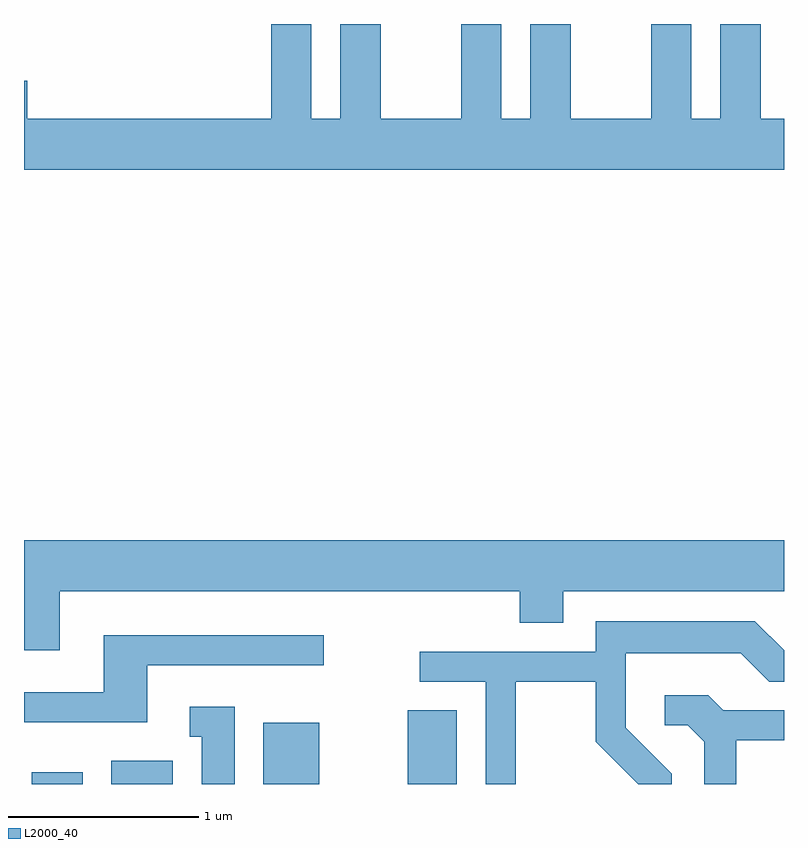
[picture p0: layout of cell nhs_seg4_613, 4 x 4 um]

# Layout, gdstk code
import gdstk
lib = gdstk.Library(unit=1e-6, precision=1e-09)
def R(c, l, rs):  # rectangles x0, y0, x1, y1
    for r in rs: c.add(gdstk.rectangle(r[:2], r[2:], *l))
def P(c, l, *ps):  # polygons
    for p in ps: c.add(gdstk.Polygon(p, *l))
L2000_40 = (2000, 40)

nhs_seg4_613 = lib.new_cell('nhs_seg4_613')
R(nhs_seg4_613, L2000_40, [(203.651,1255.982,203.919,1256.044), (204.071,1255.982,204.394,1256.104), (204.871,1255.982,205.164,1256.304), (205.631,1255.982,205.889,1256.369)])
P(nhs_seg4_613, L2000_40, [(207.611,1259.484),(207.489,1259.484),(207.489,1259.982),(207.276,1259.982),(207.276,1259.484),(207.124,1259.484),(207.124,1259.982),(206.911,1259.982),(206.911,1259.484),(206.489,1259.484),(206.489,1259.982),(206.276,1259.982),(206.276,1259.484),(206.124,1259.484),(206.124,1259.982),(205.911,1259.982),(205.911,1259.484),(205.489,1259.484),(205.489,1259.982),(205.276,1259.982),(205.276,1259.484),(205.124,1259.484),(205.124,1259.982),(204.911,1259.982),(204.911,1259.484),(203.629,1259.484),(203.629,1259.684),(203.611,1259.684),(203.611,1259.216),(207.611,1259.216)],
  [(203.799,1256.996),(206.221,1256.996),(206.221,1256.831),(206.449,1256.831),(206.449,1256.996),(207.611,1256.996),(207.611,1257.264),(203.611,1257.264),(203.611,1256.686),(203.799,1256.686)],
  [(206.199,1256.521),(206.621,1256.521),(206.621,1256.204),(206.843,1255.982),(207.019,1255.982),(207.019,1256.037),(206.779,1256.277),(206.779,1256.671),(207.384,1256.671),(207.534,1256.521),(207.611,1256.521),(207.611,1256.685),(207.457,1256.839),(206.621,1256.839),(206.621,1256.679),(205.693,1256.679),(205.693,1256.521),(206.041,1256.521),(206.041,1255.982),(206.199,1255.982)],
  [(204.259,1256.606),(205.188,1256.606),(205.188,1256.764),(204.031,1256.764),(204.031,1256.464),(203.611,1256.464),(203.611,1256.306),(204.259,1256.306)],
  [(207.359,1256.211),(207.611,1256.211),(207.611,1256.369),(207.292,1256.369),(207.212,1256.449),(206.983,1256.449),(206.983,1256.291),(207.104,1256.291),(207.191,1256.204),(207.191,1255.982),(207.359,1255.982)],
  [(204.719,1256.389),(204.483,1256.389),(204.483,1256.231),(204.546,1256.231),(204.546,1255.982),(204.719,1255.982)])

lib.write_gds('nhs_seg4_613.gds')
